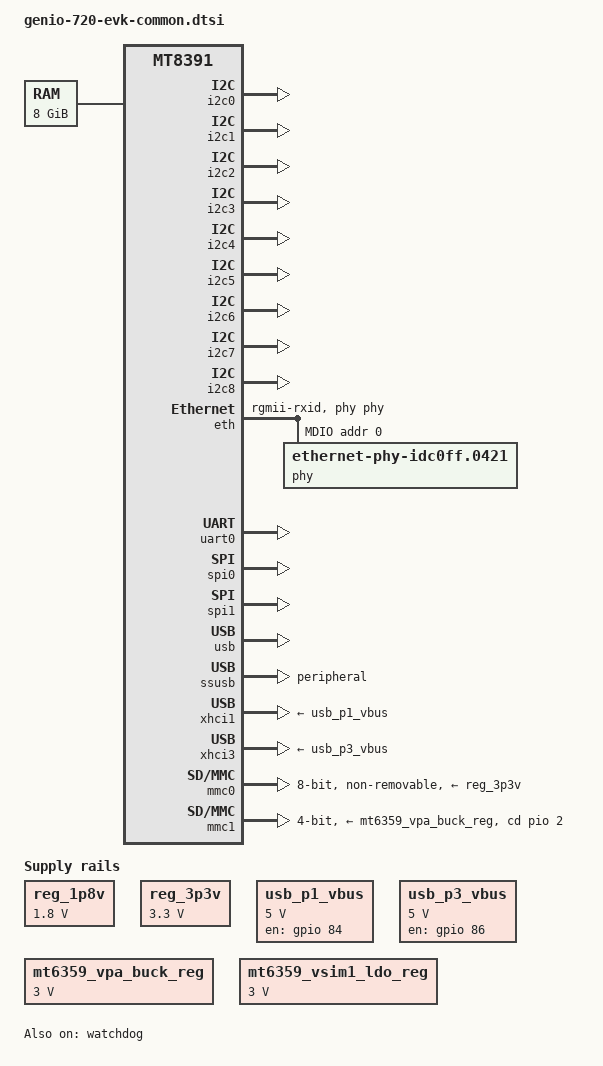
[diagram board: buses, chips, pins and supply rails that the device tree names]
// SPDX-License-Identifier: GPL-2.0 OR MIT
/*
 * Copyright (C) 2025 MediaTek Inc.
 * Author: Macpaul Lin <macpaul.lin@mediatek.com>
 */

#include <config.h>
#include "mt8391.dtsi"
#include "mt6359.dtsi"

/ {
	memory@40000000 {
		/* 8GB */
		device_type = "memory";
		reg = <0 0x40000000 2 0x00000000>;
	};

	firmware: firmware {
		optee {
			compatible = "linaro,optee-tz";
			method = "smc";
		};

		psci: psci {
			compatible = "arm,psci-1.0";
			method = "smc";
		};
	};

	reserved-memory {
		#address-cells = <2>;
		#size-cells = <2>;
		ranges;

		/* 2 MiB reserved for ARM Trusted Firmware (BL31) */
		bl31_secmon_reserved: secmon@54600000 {
			no-map;
			reg = <0 0x54600000 0x0 0x200000>;
		};

		/* 12 MiB reserved for OP-TEE (BL32)
		 * +-----------------------+ 0x43e0_0000
		 * |      SHMEM 2MiB       |
		 * +-----------------------+ 0x43c0_0000
		 * |        | TA_RAM  8MiB |
		 * + TZDRAM +--------------+ 0x4340_0000
		 * |        | TEE_RAM 2MiB |
		 * +-----------------------+ 0x4320_0000
		 */
		optee_reserved: optee@43200000 {
			no-map;
			reg = <0 0x43200000 0 0x00c00000>;
		};

		dsi_reserved: dsi@60000000 {
			reg = <0 0x60000000 0 0x02000000>;
			no-map;
		};
	};

	chosen {
		stdout-path = &uart0;
	};

	reg_1p8v: regulator-1p8v {
		compatible = "regulator-fixed";
		regulator-name = "fixed-1.8V";
		regulator-min-microvolt = <1800000>;
		regulator-max-microvolt = <1800000>;
		regulator-boot-on;
		regulator-always-on;
	};

	reg_3p3v: regulator-3p3v {
		compatible = "regulator-fixed";
		regulator-name = "fixed-3.3V";
		regulator-min-microvolt = <3300000>;
		regulator-max-microvolt = <3300000>;
		regulator-boot-on;
		regulator-always-on;
	};

	usb_p1_vbus: regulator-usb-p1 {
		compatible = "regulator-fixed";
		regulator-name = "usb_p1_vbus";
		regulator-min-microvolt = <5000000>;
		regulator-max-microvolt = <5000000>;
		gpio = <&gpio 84 GPIO_ACTIVE_HIGH>;
		enable-active-high;
	};

	usb_p3_vbus: regulator-usb-p3 {
		compatible = "regulator-fixed";
		regulator-name = "usb_p3_vbus";
		regulator-min-microvolt = <5000000>;
		regulator-max-microvolt = <5000000>;
		gpio = <&gpio 86 GPIO_ACTIVE_HIGH>;
		enable-active-high;
	};
};

&pio {
	i2c0_pins:i2c0{
		pins-bus{
			pinmux = <PINMUX_GPIO52__FUNC_SDA0>,
					<PINMUX_GPIO51__FUNC_SCL0>;
			bias-pull-up;
		};
	};

	i2c1_pins:i2c1{
		pins-bus{
			pinmux = <PINMUX_GPIO54__FUNC_SDA1>,
					<PINMUX_GPIO53__FUNC_SCL1>;
			bias-pull-up;
		};
	};

	i2c2_pins:i2c2{
		pins-bus{
			pinmux = <PINMUX_GPIO56__FUNC_SDA2>,
					<PINMUX_GPIO55__FUNC_SCL2>;
			bias-pull-up;
		};
	};

	i2c3_pins:i2c3{
		pins-bus{
			pinmux = <PINMUX_GPIO58__FUNC_SDA3>,
					<PINMUX_GPIO57__FUNC_SCL3>;
			bias-pull-up;
		};
	};

	i2c4_pins:i2c4{
		pins-bus{
			pinmux = <PINMUX_GPIO60__FUNC_SDA4>,
					<PINMUX_GPIO59__FUNC_SCL4>;
			bias-pull-up;
		};
	};
	i2c5_pins:i2c5{
		pins-bus{
			pinmux = <PINMUX_GPIO62__FUNC_SDA5>,
					<PINMUX_GPIO61__FUNC_SCL5>;
			bias-pull-up;
		};
	};

	i2c6_pins:i2c6{
		pins-bus{
			pinmux = <PINMUX_GPIO64__FUNC_SDA6>,
					<PINMUX_GPIO63__FUNC_SCL6>;
			bias-pull-up;
		};
	};

	i2c7_pins:i2c7{
		pins-bus{
			pinmux = <PINMUX_GPIO66__FUNC_SDA7>,
					<PINMUX_GPIO65__FUNC_SCL7>;
			bias-pull-up;
		};
	};

	i2c8_pins:i2c8{
		pins-bus{
			pinmux = <PINMUX_GPIO68__FUNC_SDA8>,
					<PINMUX_GPIO67__FUNC_SCL8>;
			bias-pull-up;
		};
	};

	usb0_default_pins: usb0-default-pins {
		pins-vbus-valid {
			pinmux = <PINMUX_GPIO83__FUNC_VBUSVALID>;
		};
	};

	eth_default_pins: eth-default-pins {
		txd-pins {
			pinmux = <PINMUX_GPIO119__FUNC_GBE_TXD3>,
				 <PINMUX_GPIO120__FUNC_GBE_TXD2>,
				 <PINMUX_GPIO121__FUNC_GBE_TXD1>,
				 <PINMUX_GPIO122__FUNC_GBE_TXD0>;
			drive-strength = <MTK_DRIVE_8mA>;
		};
		cc-pins {
			pinmux = <PINMUX_GPIO127__FUNC_GBE_TXC>,
				 <PINMUX_GPIO130__FUNC_GBE_TXEN>,
				 <PINMUX_GPIO129__FUNC_GBE_RXDV>,
				 <PINMUX_GPIO128__FUNC_GBE_RXC>;
			drive-strength = <MTK_DRIVE_8mA>;
		};
		rxd-pins {
			pinmux = <PINMUX_GPIO123__FUNC_GBE_RXD3>,
				 <PINMUX_GPIO124__FUNC_GBE_RXD2>,
				 <PINMUX_GPIO125__FUNC_GBE_RXD1>,
				 <PINMUX_GPIO126__FUNC_GBE_RXD0>;
			drive-strength = <MTK_DRIVE_8mA>;
		};
		mdio-pins {
			pinmux = <PINMUX_GPIO131__FUNC_GBE_MDC>,
				 <PINMUX_GPIO132__FUNC_GBE_MDIO>;
			drive-strength = <MTK_DRIVE_8mA>;
			input-enable;
		};
		power-pins {
			pinmux = <PINMUX_GPIO133__FUNC_GPIO133>,
				 <PINMUX_GPIO134__FUNC_GPIO134>;
			output-high;
		};
	};

	eth_sleep_pins: eth-sleep-pins {
		txd-pins {
			pinmux = <PINMUX_GPIO119__FUNC_GPIO119>,
				 <PINMUX_GPIO120__FUNC_GPIO120>,
				 <PINMUX_GPIO121__FUNC_GPIO121>,
				 <PINMUX_GPIO122__FUNC_GPIO122>;
		};
		cc-pins {
			pinmux = <PINMUX_GPIO127__FUNC_GPIO127>,
				 <PINMUX_GPIO130__FUNC_GPIO130>,
				 <PINMUX_GPIO129__FUNC_GPIO129>,
				 <PINMUX_GPIO128__FUNC_GPIO128>;
		};
		rxd-pins {
			pinmux = <PINMUX_GPIO123__FUNC_GPIO123>,
				 <PINMUX_GPIO124__FUNC_GPIO124>,
				 <PINMUX_GPIO125__FUNC_GPIO125>,
				 <PINMUX_GPIO126__FUNC_GPIO126>;
		};
		mdio-pins {
			pinmux = <PINMUX_GPIO131__FUNC_GPIO131>,
				 <PINMUX_GPIO132__FUNC_GPIO132>;
			input-disable;
			bias-disable;
		};
	};
};

&i2c0{
	pinctrl-names = "default";
	pinctrl-0 = <&i2c0_pins>;
	status = "okay";
};

&i2c1{
	pinctrl-names = "default";
	pinctrl-0 = <&i2c1_pins>;
	status = "okay";
};

&i2c2{
	pinctrl-names = "default";
	pinctrl-0 = <&i2c2_pins>;
	status = "okay";
};

&i2c3{
	pinctrl-names = "default";
	pinctrl-0 = <&i2c3_pins>;
	status = "okay";
};

&i2c4{
	pinctrl-names = "default";
	pinctrl-0 = <&i2c4_pins>;
	status = "okay";
};

&i2c5{
	pinctrl-names = "default";
	pinctrl-0 = <&i2c5_pins>;
	status = "okay";
};

&i2c6{
	pinctrl-names = "default";
	pinctrl-0 = <&i2c6_pins>;
	status = "okay";
};

&i2c7{
	pinctrl-names = "default";
	pinctrl-0 = <&i2c7_pins>;
	status = "okay";
};

&i2c8{
	pinctrl-names = "default";
	pinctrl-0 = <&i2c8_pins>;
	status = "okay";
};

&eth {
	phy-mode ="rgmii-rxid";
	phy-handle = <&phy>;
	snps,reset = <&pio 135 0>;
	snps,reset-delays-us = <0 10000 10000>;
	pinctrl-names = "default", "sleep";
	pinctrl-0 = <&eth_default_pins>;
	pinctrl-1 = <&eth_sleep_pins>;
	status = "okay";
	mdio {
		compatible = "snps,dwmac-mdio";
		#address-cells = <1>;
		#size-cells = <0>;
		phy: phy@0{
			compatible = "ethernet-phy-idc0ff.0421";
			reg = <0>;
		};
	};
};

&watchdog {
	status = "okay";
};

&uart0 {
	status = "okay";
};

&spi0 {
	status = "okay";
	pinctrl-0 = <&spi0_pins>;
	pinctrl-names = "default";
	enhance_timing;
	dma_ext;
	ipm_design;
	tick_dly = <0>;
	sample_sel = <0>;
	spi-max-frequency = <10000000>;
};

&spi1 {
	status = "okay";
	pinctrl-0 = <&spi1_pins>;
	pinctrl-names = "default";
	enhance_timing;
	dma_ext;
	ipm_design;
	tick_dly = <0>;
	sample_sel = <0>;
	spi-max-frequency = <10000000>;
};

&usb {
	status = "okay";
};

&ssusb {
	pinctrl-names = "default";
	pinctrl-0 = <&usb0_default_pins>;
	maximum-speed = "high-speed";
	dr_mode = "peripheral";
	status = "okay";
};

&xhci1 {
	vbus-supply = <&usb_p1_vbus>;
	status = "okay";
};

&xhci3 {
	mediatek,force-vbus;
	vbus-supply = <&usb_p3_vbus>;
	status = "okay";
};

&mmc0 {
	bus-width = <8>;
	max-frequency = <200000000>;
	cap-mmc-highspeed;
	mmc-hs200-1_8v;
	mmc-hs400-1_8v;
	hs400-ds-delay = <0x1481b>;
	cap-mmc-hw-reset;
	vmmc-supply = <&reg_3p3v>;
	vqmmc-supply = <&reg_1p8v>;
	non-removable;
	status = "okay";
};

&mmc1 {
	pinctrl-names = "default";
	pinctrl-0 = <&mmc1_pins_default>;
	bus-width = <4>;
	max-frequency = <52000000>;
	cap-sd-highspeed;
	cd-gpios = <&pio 2 GPIO_ACTIVE_HIGH>;
	vmmc-supply = <&mt6359_vpa_buck_reg>;
	vqmmc-supply = <&mt6359_vsim1_ldo_reg>;
	status = "okay";
};

&mt6359_vpa_buck_reg {
	regulator-min-microvolt = <3000000>;
	regulator-max-microvolt = <3000000>;
	regulator-always-on;
};

&mt6359_vsim1_ldo_reg {
	regulator-min-microvolt = <3000000>;
	regulator-max-microvolt = <3000000>;
	regulator-enable-ramp-delay = <480>;
	regulator-always-on;
};

&pio {
	spi0_pins: spi0-pins {
		pins-spi-bus {
			pinmux = <PINMUX_GPIO69__FUNC_SPIM0_CSB>,
				 <PINMUX_GPIO70__FUNC_SPIM0_CLK>,
				 <PINMUX_GPIO71__FUNC_SPIM0_MO>,
				 <PINMUX_GPIO72__FUNC_SPIM0_MI>;
			drive-strength = <MTK_DRIVE_6mA>;
		};
	};

	spi1_pins: spi1-pins {
		pins-spi-bus {
			pinmux = <PINMUX_GPIO73__FUNC_SPIM1_CSB>,
				 <PINMUX_GPIO74__FUNC_SPIM1_CLK>,
				 <PINMUX_GPIO75__FUNC_SPIM1_MO>,
				 <PINMUX_GPIO76__FUNC_SPIM1_MI>;
			drive-strength = <MTK_DRIVE_12mA>;
		};
	};

	mmc1_pins_default: mmc1default {
		pins-cmd-dat {
			pinmux = <PINMUX_GPIO168__FUNC_MSDC1_CMD>,
				<PINMUX_GPIO170__FUNC_MSDC1_DAT0>,
				<PINMUX_GPIO171__FUNC_MSDC1_DAT1>,
				<PINMUX_GPIO172__FUNC_MSDC1_DAT2>,
				<PINMUX_GPIO173__FUNC_MSDC1_DAT3>;
			input-enable;
			drive-strength = <MTK_DRIVE_6mA>;
			bias-pull-up = <MTK_PUPD_SET_R1R0_01>;
		};
		pins-clk {
			pinmux = <PINMUX_GPIO169__FUNC_MSDC1_CLK>;
			drive-strength = <MTK_DRIVE_6mA>;
			bias-pull-down = <MTK_PUPD_SET_R1R0_10>;
		};
		pins-insert {
			pinmux = <PINMUX_GPIO2__FUNC_GPIO2>;
			bias-pull-up;
		};
	};
};
